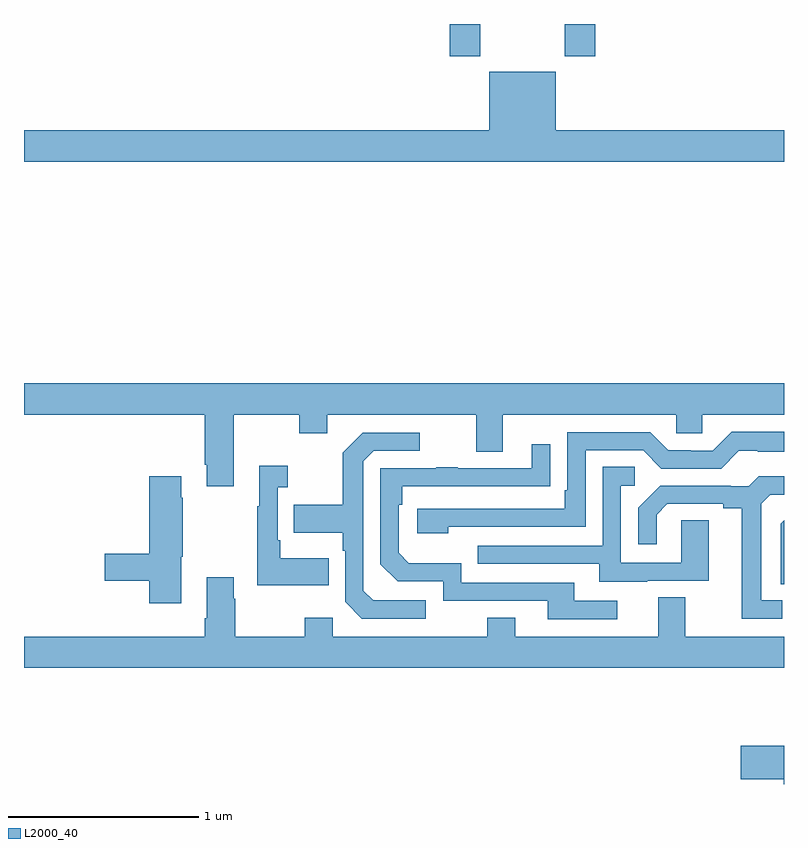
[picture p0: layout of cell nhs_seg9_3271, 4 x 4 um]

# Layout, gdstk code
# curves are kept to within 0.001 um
import gdstk
lib = gdstk.Library(unit=1e-6, precision=1e-09)
def R(c, l, rs):  # rectangles x0, y0, x1, y1
    for r in rs: c.add(gdstk.rectangle(r[:2], r[2:], *l))
def P(c, l, *ps):  # polygons
    for p in ps: c.add(gdstk.Polygon(p, *l))
L2000_40 = (2000, 40)

nhs_seg9_3271 = lib.new_cell('nhs_seg9_3271')
R(nhs_seg9_3271, L2000_40, [(301.241,1174.329,301.401,1174.5), (301.846,1174.329,302.006,1174.5)])
P(nhs_seg9_3271, L2000_40, [(303,1173.94),(301.798,1173.94),(301.798,1174.249),(301.448,1174.249),(301.448,1173.94),(299,1173.94),(299,1173.776),(303,1173.776)],
  [(300.103,1172.444),(300.448,1172.444),(300.448,1172.345),(300.595,1172.345),(300.595,1172.444),(301.379,1172.444),(301.379,1172.25),(301.519,1172.25),(301.519,1172.444),(302.433,1172.444),(302.433,1172.346),(302.571,1172.346),(302.571,1172.444),(303,1172.444),(303,1172.608),(299,1172.608),(299,1172.444),(299.951,1172.444),(299.951,1172.179),(299.963,1172.179),(299.963,1172.067),(300.103,1172.067)],
  [(301.232,1171.854),(301.956,1171.854),(301.956,1172.256),(302.259,1172.256),(302.355,1172.16),(302.67,1172.16),(302.763,1172.253),(302.863,1172.253),(302.863,1172.249),(303,1172.249),(303,1172.353),(302.725,1172.353),(302.625,1172.253),(302.51,1172.253),(302.51,1172.256),(302.391,1172.256),(302.295,1172.352),(301.86,1172.352),(301.86,1172.047),(301.847,1172.047),(301.847,1171.95),(301.071,1171.95),(301.071,1171.82),(301.232,1171.82)],
  [(301.114,1171.467),(300.837,1171.467),(300.786,1171.518),(300.786,1172.199),(300.84,1172.253),(301.084,1172.253),(301.084,1172.349),(300.783,1172.349),(300.678,1172.243),(300.678,1171.971),(300.421,1171.971),(300.421,1171.823),(300.678,1171.823),(300.678,1171.727),(300.69,1171.727),(300.69,1171.458),(300.777,1171.371),(301.114,1171.371)],
  [(302.122,1171.464),(301.897,1171.464),(301.897,1171.56),(301.302,1171.56),(301.302,1171.663),(301.025,1171.663),(300.972,1171.716),(300.972,1171.97),(300.992,1171.97),(300.992,1172.067),(301.769,1172.068),(301.769,1172.287),(301.673,1172.287),(301.673,1172.163),(301.283,1172.163),(301.283,1172.168),(301.171,1172.168),(301.171,1172.163),(300.876,1172.163),(300.876,1171.656),(300.966,1171.566),(301.206,1171.566),(301.206,1171.464),(301.757,1171.464),(301.757,1171.368),(302.122,1171.368)],
  [(300.605,1171.687),(300.349,1171.687),(300.349,1171.783),(300.336,1171.783),(300.336,1172.063),(300.388,1172.063),(300.388,1172.176),(300.239,1172.176),(300.239,1171.963),(300.228,1171.963),(300.228,1171.547),(300.605,1171.547)],
  [(302.281,1171.569),(302.605,1171.569),(302.605,1171.889),(302.46,1171.889),(302.46,1171.665),(302.142,1171.665),(302.142,1172.07),(302.215,1172.07),(302.215,1172.171),(302.046,1172.171),(302.046,1171.755),(301.387,1171.755),(301.387,1171.659),(302.027,1171.659),(302.027,1171.565),(302.281,1171.565)],
  [(299.827,1171.695),(299.835,1171.695),(299.835,1172.006),(299.827,1172.006),(299.827,1172.119),(299.66,1172.119),(299.66,1171.712),(299.424,1171.712),(299.424,1171.57),(299.66,1171.57),(299.66,1171.452),(299.827,1171.452)],
  [(302.992,1171.467),(302.881,1171.467),(302.881,1171.975),(302.928,1172.022),(303,1172.022),(303,1172.119),(302.866,1172.119),(302.814,1172.067),(302.72,1172.067),(302.72,1172.07),(302.348,1172.07),(302.232,1171.954),(302.232,1171.761),(302.329,1171.761),(302.329,1171.917),(302.386,1171.974),(302.681,1171.974),(302.681,1171.952),(302.777,1171.952),(302.777,1171.371),(302.992,1171.371)],
  [(303,1171.888),(302.982,1171.87),(302.982,1171.552),(303,1171.552)],
  [(303,1171.276),(302.479,1171.276),(302.479,1171.484),(302.339,1171.484),(302.339,1171.276),(301.585,1171.276),(301.585,1171.375),(301.438,1171.375),(301.438,1171.276),(300.624,1171.276),(300.624,1171.375),(300.478,1171.375),(300.478,1171.276),(300.111,1171.276),(300.111,1171.475),(300.103,1171.475),(300.103,1171.588),(299.963,1171.588),(299.963,1171.372),(299.951,1171.372),(299.951,1171.276),(299,1171.276),(299,1171.112),(303,1171.112)],
  [(303,1170.702),(302.772,1170.702),(302.772,1170.524),(302.999,1170.524),(302.999,1170.5),(303,1170.5)])

lib.write_gds('nhs_seg9_3271.gds')
